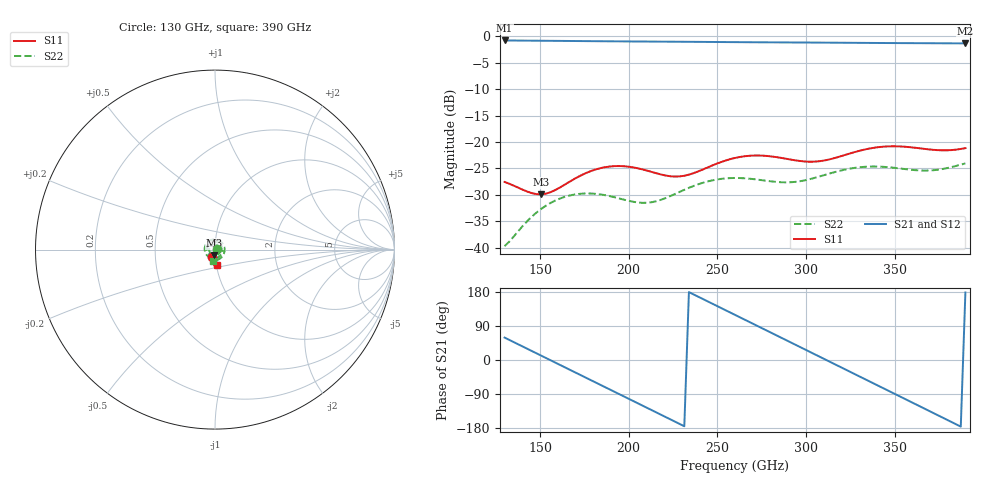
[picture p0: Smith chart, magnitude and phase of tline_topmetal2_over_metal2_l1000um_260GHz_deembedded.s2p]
! Created with skrf 2.0.1 (http://scikit-rf.org).
# GHz S DB R 50.0
!freq dBS11 angS11 dBS21 angS21 dBS12 angS12 dBS22 angS22
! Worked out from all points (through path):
!   101 points, 130 GHz to 390 GHz, reference 50 ohm
!   highest |S21| = -0.80 dB at 130 GHz (marker M1); lowest = -1.4 dB at 390 GHz (marker M2)
!   group delay of S21, straight-line fit = 6.42 ps
!   lowest |S11| = -29.9 dB at 150.8 GHz (marker M3), VSWR 1.07, Z = 49.5 - j3.14 ohm
!   |S11| at or under -10 dB: start of sweep to end of sweep
!   |S22| runs from -39.7 to -24.1 dB; largest |S21 - S12| = 1e-13
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130  -27.56 -109.8  -0.80 59.1  -0.80 59.1  -39.70 35.4
150.8  -29.90 -97.9  -0.86 11.1  -0.86 11.1  -32.62 -75.6
161.2  -28.61 -85.3  -0.89 -12.8  -0.89 -12.8  -30.70 -116.0
174.2  -26.14 -84.1  -0.92 -42.8  -0.92 -42.8  -29.76 -165.4
184.6  -24.91 -90.2  -0.95 -66.8  -0.95 -66.8  -29.94 152.9
195  -24.55 -97.7  -0.98 -90.8  -0.98 -90.8  -30.71 106.5
205.4  -24.99 -103.1  -1.00 -114.8  -1.00 -114.8  -31.45 53.1
218.4  -26.16 -102.0  -1.03 -144.8  -1.03 -144.8  -30.92 -19.4
228.8  -26.51 -93.5  -1.05 -168.8  -1.05 -168.8  -29.43 -72.6
239.2  -25.57 -85.1  -1.07 167.1  -1.07 167.1  -28.01 -119.8
260  -23.02 -86.8  -1.12 119.1  -1.12 119.1  -26.81 153.0
270.4  -22.57 -92.1  -1.15 95.1  -1.15 95.1  -27.02 107.9
280.8  -22.74 -96.4  -1.16 71.0  -1.16 71.0  -27.47 59.1
293.8  -23.46 -96.5  -1.19 41.0  -1.19 41.0  -27.55 -7.2
304.2  -23.73 -91.3  -1.20 16.9  -1.20 16.9  -26.86 -60.2
314.6  -23.19 -85.3  -1.22 -7.2  -1.22 -7.2  -25.85 -109.7
325  -22.16 -83.2  -1.25 -31.3  -1.25 -31.3  -25.04 -155.6
338  -21.12 -86.0  -1.28 -61.4  -1.28 -61.4  -24.64 148.8
348.4  -20.82 -89.9  -1.30 -85.4  -1.30 -85.4  -24.83 103.2
366.6  -21.30 -92.9  -1.32 -127.6  -1.32 -127.6  -25.41 15.4
379.6  -21.58 -88.7  -1.34 -157.7  -1.34 -157.7  -24.95 -51.2
390  -21.16 -84.1  -1.36 178.1  -1.36 178.1  -24.05 -101.6
